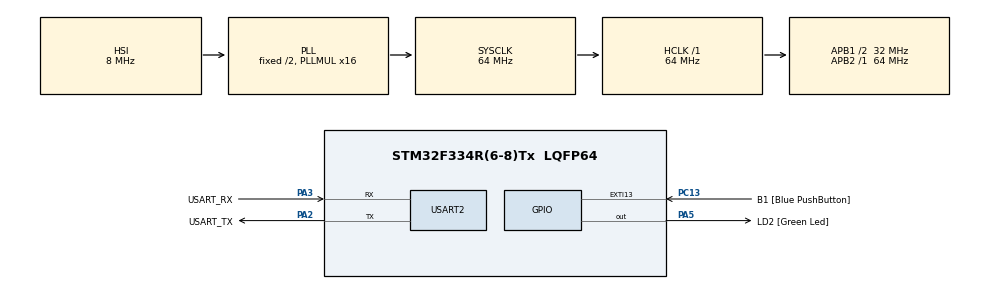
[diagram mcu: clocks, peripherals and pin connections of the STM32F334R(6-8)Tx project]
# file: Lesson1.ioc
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Mcu.Family=STM32F3
Mcu.Name=STM32F334R(6-8)Tx
Mcu.Package=LQFP64
NVIC.PriorityGroup=NVIC_PRIORITYGROUP_0
PA13.GPIO_Label=TMS
PA13.Mode=Serial_Wire
PA13.Signal=SYS_JTMS-SWDIO
PA14.GPIO_Label=TCK
PA14.Mode=Serial_Wire
PA14.Signal=SYS_JTCK-SWCLK
PA2.GPIO_Label=USART_TX
PA2.Mode=Asynchronous
PA2.Signal=USART2_TX
PA3.GPIO_Label=USART_RX
PA3.Mode=Asynchronous
PA3.Signal=USART2_RX
PA5.GPIO_Label=LD2 [Green Led]
PA5.Signal=GPIO_Output
PB3.GPIO_Label=SWO
PB3.Signal=SYS_JTDO-TRACESWO
PC13.GPIO_Label=B1 [Blue PushButton]
PC13.GPIO_ModeDefaultEXTI=GPIO_MODE_IT_FALLING
PC13.Signal=GPXTI13
PC14\ /\ OSC32_IN.Mode=LSE-External-Oscillator
PC14\ /\ OSC32_IN.Signal=RCC_OSC32_IN
PC15\ /\ OSC32_OUT.GPIO_Label=RCC_OSC32_OUT
PC15\ /\ OSC32_OUT.Mode=LSE-External-Oscillator
PC15\ /\ OSC32_OUT.Signal=RCC_OSC32_OUT
PF0\ /\ OSC_IN.Mode=HSE-External-Clock-Source
PF0\ /\ OSC_IN.Signal=RCC_OSC_IN
PF1\ /\ OSC_OUT.Signal=RCC_OSC_OUT
ProjectManager.HeapSize=0x200
ProjectManager.StackSize=0x400
ProjectManager.TargetToolchain=STM32CubeIDE
RCC.AHBFreq_Value=64000000
RCC.APB1CLKDivider=RCC_HCLK_DIV2
RCC.APB1Freq_Value=32000000
RCC.APB1TimFreq_Value=64000000
RCC.APB2Freq_Value=64000000
RCC.APB2TimFreq_Value=64000000
RCC.CortexFreq_Value=64000000
RCC.FLatency-AdvancedSettings=FLASH_LATENCY_2
RCC.HCLKFreq_Value=64000000
RCC.HSE_VALUE=8000000
RCC.HSI_VALUE=8000000
RCC.PLLMUL=RCC_PLL_MUL16
RCC.SYSCLKFreq_VALUE=64000000
RCC.SYSCLKSourceVirtual=RCC_SYSCLKSOURCE_PLLCLK
USART2.VirtualMode-Asynchronous=VM_ASYNC
board=NUCLEO-F334R8

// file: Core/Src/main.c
/* USER CODE BEGIN Header */
/**
  ******************************************************************************
  * @file           : main.c
  * @brief          : Main program body
  ******************************************************************************
  * @attention
  *
  * Copyright (c) 2023 STMicroelectronics.
  * All rights reserved.
  *
  * This software is licensed under terms that can be found in the LICENSE file
  * in the root directory of this software component.
  * If no LICENSE file comes with this software, it is provided AS-IS.
  *
  ******************************************************************************
  */
/* USER CODE END Header */
#include "main.h"

UART_HandleTypeDef huart2;

void SystemClock_Config(void);
static void MX_GPIO_Init(void);
static void MX_USART2_UART_Init(void);

void togleWithDelay(uint8_t delay) {
	//	  HAL_GPIO_WritePin(GPIOA, GPIO_PIN_5, SET);
	HAL_GPIO_TogglePin(GPIOC, GPIO_PIN_5);
	HAL_Delay(delay * 1000);
}

void toggleWithDelay(uint8_t delay) {
	HAL_GPIO_TogglePin(GPIOC, GPIO_PIN_5);
	HAL_Delay(delay * 1000);
}

int main(void)
{
  /* USER CODE BEGIN 1 */
	uint8_t count = 0;
  /* USER CODE END 1 */

  /* MCU Configuration--------------------------------------------------------*/

  /* Reset of all peripherals, Initializes the Flash interface and the Systick. */
  HAL_Init();

  /* Configure the system clock */
  SystemClock_Config();

  /* Initialize all configured peripherals */
  MX_GPIO_Init();
  MX_USART2_UART_Init();

  /* Infinite loop */
  /* USER CODE BEGIN WHILE */
  while (1)
  {
//	  HAL_GPIO_WritePin(GPIOA, GPIO_PIN_5, SET);
		switch(count){
		case 0:
			toggleWithDelay(1);
			break;
		case 1:
			toggleWithDelay(2);
			break;
		case 2:
			toggleWithDelay(3);
			break;
		case 3:
			toggleWithDelay(1);
			count = 0;
			break;
		default:
			toggleWithDelay(1);
			count = 0;
		}
	  if(HAL_GPIO_ReadPin(GPIOC, GPIO_PIN_13)){
//		  HAL_GPIO_TogglePin(GPIOC, GPIO_PIN_5);
		  HAL_Delay(50);
		  count++;
	  }
//
//	  if(count == 1) {
//		  HAL_GPIO_WritePin(GPIOC, GPIO_PIN_5, SET);
//	  } else if(count == 2){
//
//	  }
    /* USER CODE END WHILE */

  }
}

void SystemClock_Config(void)
{
  RCC_OscInitTypeDef RCC_OscInitStruct = {0};
  RCC_ClkInitTypeDef RCC_ClkInitStruct = {0};

  /** Initializes the RCC Oscillators according to the specified parameters
  * in the RCC_OscInitTypeDef structure.
  */
  RCC_OscInitStruct.OscillatorType = RCC_OSCILLATORTYPE_HSI;
  RCC_OscInitStruct.HSIState = RCC_HSI_ON;
  RCC_OscInitStruct.HSICalibrationValue = RCC_HSICALIBRATION_DEFAULT;
  RCC_OscInitStruct.PLL.PLLState = RCC_PLL_ON;
  RCC_OscInitStruct.PLL.PLLSource = RCC_PLLSOURCE_HSI;
  RCC_OscInitStruct.PLL.PLLMUL = RCC_PLL_MUL16;
  if (HAL_RCC_OscConfig(&RCC_OscInitStruct) != HAL_OK)
  {
    Error_Handler();
  }

  /** Initializes the CPU, AHB and APB buses clocks
  */
  RCC_ClkInitStruct.ClockType = RCC_CLOCKTYPE_HCLK|RCC_CLOCKTYPE_SYSCLK
                              |RCC_CLOCKTYPE_PCLK1|RCC_CLOCKTYPE_PCLK2;
  RCC_ClkInitStruct.SYSCLKSource = RCC_SYSCLKSOURCE_PLLCLK;
  RCC_ClkInitStruct.AHBCLKDivider = RCC_SYSCLK_DIV1;
  RCC_ClkInitStruct.APB1CLKDivider = RCC_HCLK_DIV2;
  RCC_ClkInitStruct.APB2CLKDivider = RCC_HCLK_DIV1;

  if (HAL_RCC_ClockConfig(&RCC_ClkInitStruct, FLASH_LATENCY_2) != HAL_OK)
  {
    Error_Handler();
  }
}

static void MX_USART2_UART_Init(void)
{

  huart2.Instance = USART2;
  huart2.Init.BaudRate = 38400;
  huart2.Init.WordLength = UART_WORDLENGTH_8B;
  huart2.Init.StopBits = UART_STOPBITS_1;
  huart2.Init.Parity = UART_PARITY_NONE;
  huart2.Init.Mode = UART_MODE_TX_RX;
  huart2.Init.HwFlowCtl = UART_HWCONTROL_NONE;
  huart2.Init.OverSampling = UART_OVERSAMPLING_16;
  huart2.Init.OneBitSampling = UART_ONE_BIT_SAMPLE_DISABLE;
  huart2.AdvancedInit.AdvFeatureInit = UART_ADVFEATURE_NO_INIT;
  if (HAL_UART_Init(&huart2) != HAL_OK)
  {
    Error_Handler();
  }

}

static void MX_GPIO_Init(void)
{
  GPIO_InitTypeDef GPIO_InitStruct = {0};

  /* GPIO Ports Clock Enable */
  __HAL_RCC_GPIOC_CLK_ENABLE();
  __HAL_RCC_GPIOF_CLK_ENABLE();
  __HAL_RCC_GPIOA_CLK_ENABLE();
  __HAL_RCC_GPIOB_CLK_ENABLE();

  /*Configure GPIO pin Output Level */
  HAL_GPIO_WritePin(LD2_GPIO_Port, LD2_Pin, GPIO_PIN_RESET);

  /*Configure GPIO pin : B1_Pin */
  GPIO_InitStruct.Pin = B1_Pin;
  GPIO_InitStruct.Mode = GPIO_MODE_IT_FALLING;
  GPIO_InitStruct.Pull = GPIO_NOPULL;
  HAL_GPIO_Init(B1_GPIO_Port, &GPIO_InitStruct);

  /*Configure GPIO pin : LD2_Pin */
  GPIO_InitStruct.Pin = LD2_Pin;
  GPIO_InitStruct.Mode = GPIO_MODE_OUTPUT_PP;
  GPIO_InitStruct.Pull = GPIO_NOPULL;
  GPIO_InitStruct.Speed = GPIO_SPEED_FREQ_LOW;
  HAL_GPIO_Init(LD2_GPIO_Port, &GPIO_InitStruct);

}

void Error_Handler(void)
{
  __disable_irq();
  while (1)
  {
  }
}
